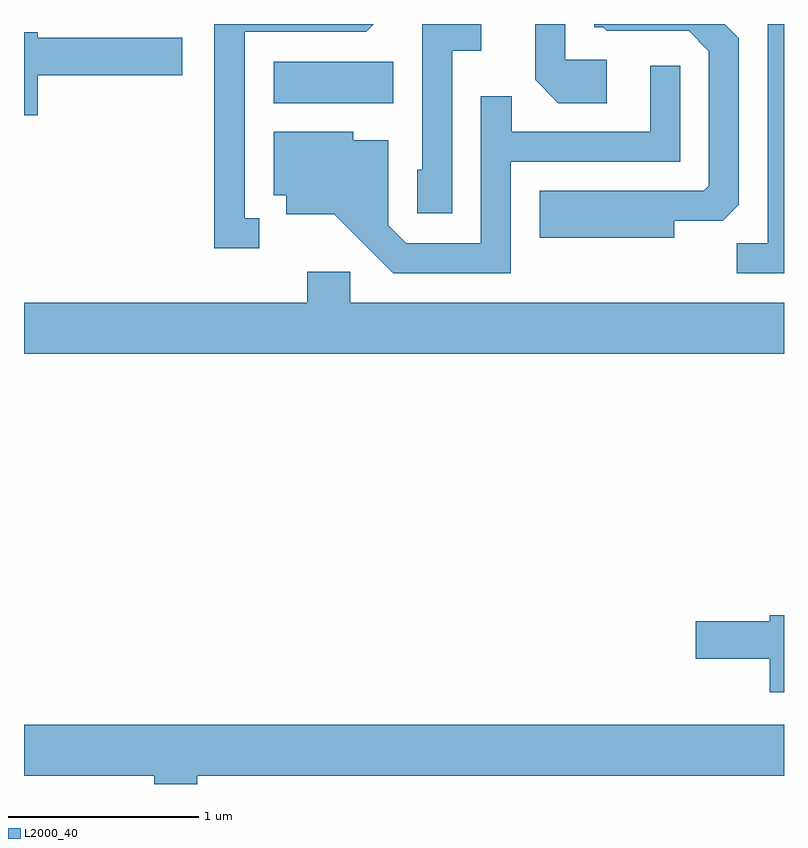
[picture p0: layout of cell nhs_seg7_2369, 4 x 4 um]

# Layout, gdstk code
import gdstk
lib = gdstk.Library(unit=1e-6, precision=1e-09)
def R(c, l, rs):  # rectangles x0, y0, x1, y1
    for r in rs: c.add(gdstk.rectangle(r[:2], r[2:], *l))
def P(c, l, *ps):  # polygons
    for p in ps: c.add(gdstk.Polygon(p, *l))
L2000_40 = (2000, 40)

nhs_seg7_2369 = lib.new_cell('nhs_seg7_2369')
R(nhs_seg7_2369, L2000_40, [(258.926,1737.836,259.554,1738.054)])
P(nhs_seg7_2369, L2000_40, [(258.848,1737.229),(258.774,1737.229),(258.774,1738.211),(259.412,1738.211),(259.453,1738.252),(258.611,1738.252),(258.611,1737.071),(258.848,1737.071)],
  [(260.679,1738.064),(260.459,1738.064),(260.459,1738.252),(260.301,1738.252),(260.301,1737.959),(260.424,1737.836),(260.679,1737.836)],
  [(261.034,1737.216),(261.289,1737.216),(261.374,1737.302),(261.374,1738.177),(261.299,1738.252),(260.611,1738.252),(260.611,1738.236),(260.659,1738.236),(260.679,1738.216),(261.109,1738.216),(261.216,1738.109),(261.216,1737.402),(261.189,1737.374),(260.326,1737.374),(260.326,1737.126),(261.034,1737.126)],
  [(259.864,1738.111),(260.017,1738.111),(260.017,1738.252),(259.706,1738.252),(259.706,1737.484),(259.681,1737.484),(259.681,1737.256),(259.864,1737.256)],
  [(261.611,1738.252),(261.526,1738.252),(261.526,1737.099),(261.363,1737.099),(261.363,1736.941),(261.611,1736.941)],
  [(257.684,1737.981),(258.444,1737.981),(258.444,1738.179),(257.684,1738.179),(257.684,1738.209),(257.611,1738.209),(257.611,1737.771),(257.684,1737.771)],
  [(260.174,1737.526),(261.064,1737.526),(261.064,1738.033),(260.906,1738.033),(260.906,1737.684),(260.179,1737.684),(260.179,1737.873),(260.016,1737.873),(260.016,1737.099),(259.622,1737.099),(259.529,1737.192),(259.529,1737.639),(259.344,1737.639),(259.344,1737.684),(258.926,1737.684),(258.926,1737.351),(258.991,1737.351),(258.991,1737.251),(259.243,1737.251),(259.554,1736.941),(260.174,1736.941)],
  [(261.611,1736.784),(259.329,1736.784),(259.329,1736.949),(259.101,1736.949),(259.101,1736.784),(257.611,1736.784),(257.611,1736.516),(261.611,1736.516)],
  [(261.611,1735.139),(261.536,1735.139),(261.536,1735.109),(261.146,1735.109),(261.146,1734.911),(261.536,1734.911),(261.536,1734.736),(261.611,1734.736)],
  [(258.524,1734.296),(261.611,1734.296),(261.611,1734.564),(257.611,1734.564),(257.611,1734.296),(258.296,1734.296),(258.296,1734.252),(258.524,1734.252)])

lib.write_gds('nhs_seg7_2369.gds')
